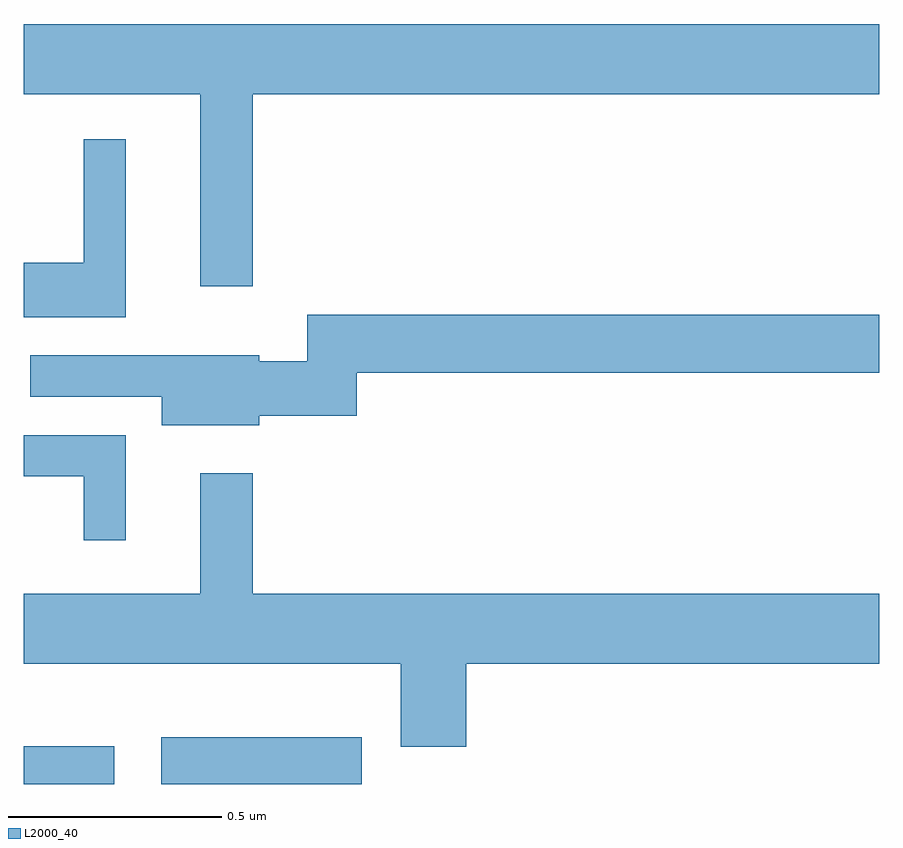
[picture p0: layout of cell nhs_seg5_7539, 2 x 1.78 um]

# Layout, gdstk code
import gdstk
lib = gdstk.Library(unit=1e-6, precision=1e-09)
def R(c, l, rs):  # rectangles x0, y0, x1, y1
    for r in rs: c.add(gdstk.rectangle(r[:2], r[2:], *l))
def P(c, l, *ps):  # polygons
    for p in ps: c.add(gdstk.Polygon(p, *l))
L2000_40 = (2000, 40)

nhs_seg5_7539 = lib.new_cell('nhs_seg5_7539')
R(nhs_seg5_7539, L2000_40, [(210,869.799,210.211,869.887), (210.321,869.799,210.79,869.908)])
P(nhs_seg5_7539, L2000_40, [(210.535,871.412),(212,871.412),(212,871.576),(210,871.576),(210,871.412),(210.413,871.412),(210.413,870.963),(210.535,870.963)],
  [(210.238,871.306),(210.14,871.306),(210.14,871.018),(210,871.018),(210,870.89),(210.238,870.89)],
  [(210.55,870.66),(210.779,870.66),(210.779,870.76),(212,870.76),(212,870.896),(210.663,870.896),(210.663,870.788),(210.55,870.788),(210.55,870.802),(210.327,870.802),(210.327,870.801),(210.015,870.801),(210.015,870.705),(210.323,870.705),(210.323,870.638),(210.55,870.638)],
  [(210.238,870.615),(210,870.615),(210,870.519),(210.14,870.519),(210.14,870.369),(210.238,870.369)],
  [(211.034,870.08),(212,870.08),(212,870.244),(210.535,870.244),(210.535,870.526),(210.413,870.526),(210.413,870.244),(210,870.244),(210,870.08),(210.881,870.08),(210.881,869.886),(211.034,869.886)])

lib.write_gds('nhs_seg5_7539.gds')
